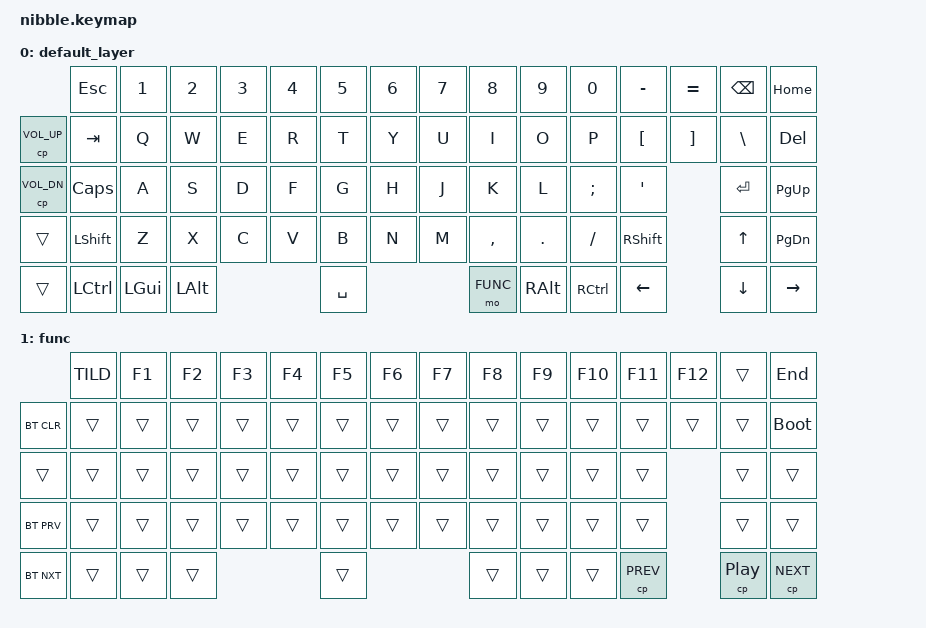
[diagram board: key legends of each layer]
/*
 * Copyright (c) 2020 The ZMK Contributors
 *
 * SPDX-License-Identifier: MIT
 */

#include <behaviors.dtsi>
#include <dt-bindings/zmk/keys.h>
#include <dt-bindings/zmk/bt.h>

#define DEFAULT 0
#define FUNC 1

/ {
    keymap {
        compatible = "zmk,keymap";
        
        default_layer {
            bindings = <
           &kp ESC  &kp N1 &kp N2 &kp N3 &kp N4 &kp N5 &kp N6 &kp N7 &kp N8 &kp N9 &kp N0 &kp MINUS &kp EQUAL  &kp BSPC &kp HOME
&cp C_VOL_UP &kp TAB  &kp Q     &kp W     &kp E     &kp R     &kp T     &kp Y     &kp U     &kp I     &kp O     &kp P     &kp LBKT  &kp RBKT &kp BSLH &kp DEL  
&cp C_VOL_DN &kp CLCK &kp A     &kp S     &kp D     &kp F     &kp G     &kp H     &kp J     &kp K     &kp L     &kp SEMI  &kp APOS           &kp RET  &kp PG_UP  
&trans     &kp LSHFT &kp Z     &kp X     &kp C     &kp V     &kp B     &kp N     &kp M     &kp COMMA  &kp DOT   &kp FSLH  &kp RSHFT           &kp UP &kp PG_DN
&trans     &kp LCTRL &kp LGUI  &kp LALT                      &kp SPACE                       &mo FUNC  &kp RALT  &kp RCTRL  &kp LEFT           &kp DOWN &kp RIGHT
            >;
        };
        func {
            bindings = <
            &kp TILD    &kp F1    &kp F2    &kp F3    &kp F4    &kp F5    &kp F6    &kp F7    &kp F8    &kp F9    &kp F10   &kp F11   &kp F12 &trans      &kp END
&bt BT_CLR  &trans      &trans    &trans    &trans    &trans    &trans    &trans    &trans    &trans    &trans    &trans    &trans    &trans  &trans      &bootloader   
&trans      &trans      &trans    &trans    &trans    &trans    &trans    &trans    &trans    &trans    &trans    &trans    &trans            &trans      &trans   
&bt BT_PRV  &trans      &trans    &trans    &trans    &trans    &trans    &trans    &trans    &trans    &trans    &trans    &trans            &trans      &trans
&bt BT_NXT  &trans      &trans    &trans                        &trans                        &trans    &trans    &trans    &cp C_PREV        &cp C_PP  &cp C_NEXT
            >;
        };
    };
};
